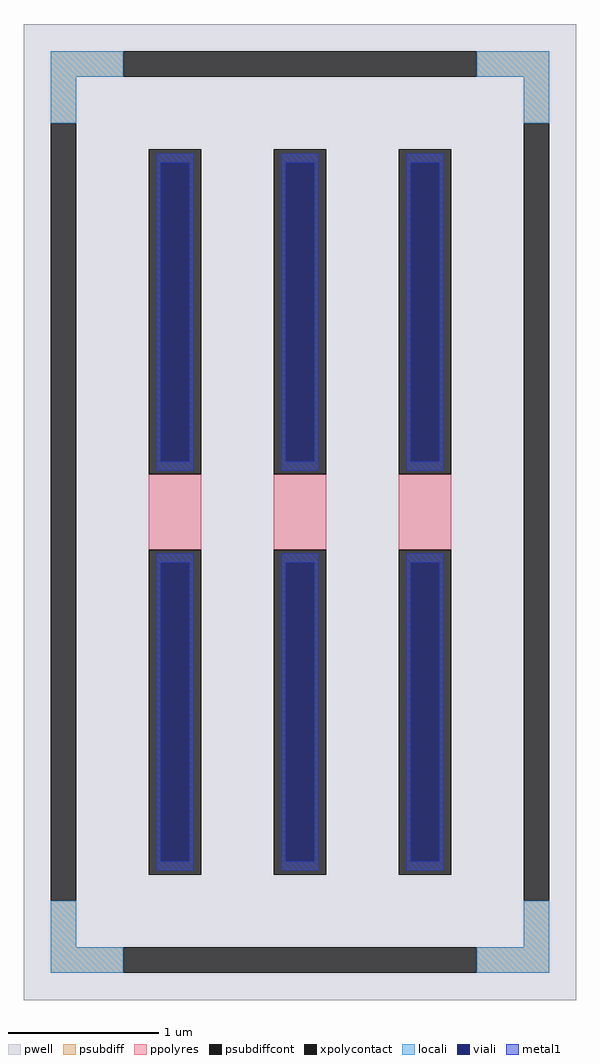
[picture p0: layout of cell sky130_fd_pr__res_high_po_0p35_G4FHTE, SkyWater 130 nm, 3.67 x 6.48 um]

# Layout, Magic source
magic
tech sky130A
magscale 1 2
<< pwell >>
rect -367 -648 367 648
<< psubdiff >>
rect -331 578 -235 612
rect 235 578 331 612
rect -331 516 -297 578
rect 297 516 331 578
rect -331 -578 -297 -516
rect 297 -578 331 -516
rect -331 -612 -235 -578
rect 235 -612 331 -578
<< psubdiffcont >>
rect -235 578 235 612
rect -331 -516 -297 516
rect 297 -516 331 516
rect -235 -612 235 -578
<< xpolycontact >>
rect -201 50 -131 482
rect -201 -482 -131 -50
rect -35 50 35 482
rect -35 -482 35 -50
rect 131 50 201 482
rect 131 -482 201 -50
<< ppolyres >>
rect -201 -50 -131 50
rect -35 -50 35 50
rect 131 -50 201 50
<< locali >>
rect -331 578 -235 612
rect 235 578 331 612
rect -331 516 -297 578
rect 297 516 331 578
rect -331 -578 -297 -516
rect 297 -578 331 -516
rect -331 -612 -235 -578
rect 235 -612 331 -578
<< viali >>
rect -185 67 -147 464
rect -19 67 19 464
rect 147 67 185 464
rect -185 -464 -147 -67
rect -19 -464 19 -67
rect 147 -464 185 -67
<< metal1 >>
rect -191 464 -141 476
rect -191 67 -185 464
rect -147 67 -141 464
rect -191 55 -141 67
rect -25 464 25 476
rect -25 67 -19 464
rect 19 67 25 464
rect -25 55 25 67
rect 141 464 191 476
rect 141 67 147 464
rect 185 67 191 464
rect 141 55 191 67
rect -191 -67 -141 -55
rect -191 -464 -185 -67
rect -147 -464 -141 -67
rect -191 -476 -141 -464
rect -25 -67 25 -55
rect -25 -464 -19 -67
rect 19 -464 25 -67
rect -25 -476 25 -464
rect 141 -67 191 -55
rect 141 -464 147 -67
rect 185 -464 191 -67
rect 141 -476 191 -464
<< properties >>
string FIXED_BBOX -314 -595 314 595
string gencell sky130_fd_pr__res_high_po_0p35
string library sky130
string parameters w 0.35 l 0.5 m 1 nx 3 wmin 0.350 lmin 0.50 rho 319.8 val 1.57k dummy 0 dw 0.0 term 194.82 sterm 0.0 caplen 0 guard 1 glc 1 grc 1 gtc 1 gbc 1 compatible {sky130_fd_pr__res_high_po_0p35  sky130_fd_pr__res_high_po_0p69 sky130_fd_pr__res_high_po_1p41  sky130_fd_pr__res_high_po_2p85 sky130_fd_pr__res_high_po_5p73} snake 0 full_metal 1 wmax 0.350 vias 1 n_guard 0 hv_guard 0 viagb 0 viagt 0 viagl 0 viagr 0
<< end >>
